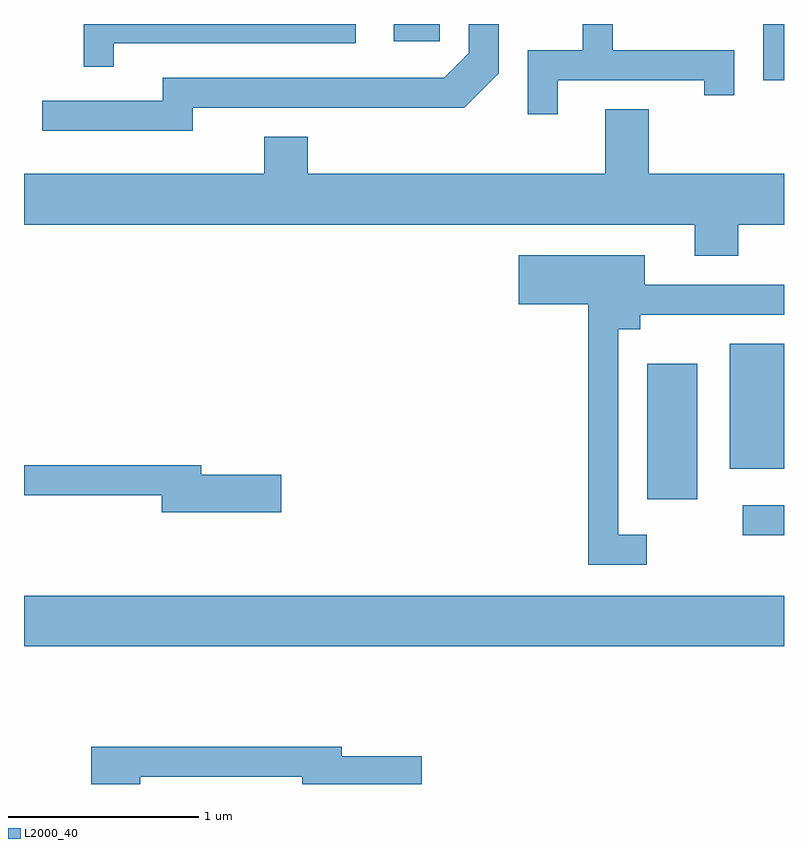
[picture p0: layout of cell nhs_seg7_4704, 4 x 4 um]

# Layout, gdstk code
import gdstk
lib = gdstk.Library(unit=1e-6, precision=1e-09)
def R(c, l, rs):  # rectangles x0, y0, x1, y1
    for r in rs: c.add(gdstk.rectangle(r[:2], r[2:], *l))
def P(c, l, *ps):  # polygons
    for p in ps: c.add(gdstk.Polygon(p, *l))
L2000_40 = (2000, 40)

nhs_seg7_4704 = lib.new_cell('nhs_seg7_4704')
R(nhs_seg7_4704, L2000_40, [(329.611,1720.976,333.611,1721.244), (333.393,1721.561,333.611,1721.719), (332.891,1721.751,333.154,1722.464), (333.326,1721.911,333.611,1722.569), (333.501,1723.956,333.611,1724.252), (331.558,1724.161,331.799,1724.252)])
P(nhs_seg7_4704, L2000_40, [(330.084,1724.151),(331.358,1724.151),(331.358,1724.252),(329.926,1724.252),(329.926,1724.028),(330.084,1724.028)],
  [(330.499,1723.811),(331.927,1723.811),(332.109,1723.994),(332.109,1724.252),(331.951,1724.252),(331.951,1724.097),(331.824,1723.969),(330.341,1723.969),(330.341,1723.849),(329.708,1723.849),(329.708,1723.691),(330.499,1723.691)],
  [(332.419,1723.956),(333.191,1723.956),(333.191,1723.878),(333.349,1723.878),(333.349,1724.114),(332.709,1724.114),(332.709,1724.252),(332.551,1724.252),(332.551,1724.114),(332.261,1724.114),(332.261,1723.778),(332.419,1723.778)],
  [(333.369,1723.196),(333.611,1723.196),(333.611,1723.464),(332.899,1723.464),(332.899,1723.804),(332.671,1723.804),(332.671,1723.464),(331.104,1723.464),(331.104,1723.659),(330.876,1723.659),(330.876,1723.464),(329.611,1723.464),(329.611,1723.196),(333.141,1723.196),(333.141,1723.031),(333.369,1723.031)],
  [(332.888,1721.564),(332.739,1721.564),(332.739,1722.646),(332.854,1722.646),(332.854,1722.721),(333.611,1722.721),(333.611,1722.879),(332.879,1722.879),(332.879,1723.034),(332.216,1723.034),(332.216,1722.776),(332.581,1722.776),(332.581,1721.406),(332.888,1721.406)],
  [(330.964,1721.879),(330.544,1721.879),(330.544,1721.929),(329.611,1721.929),(329.611,1721.771),(330.336,1721.771),(330.336,1721.681),(330.964,1721.681)],
  [(330.224,1720.291),(331.076,1720.291),(331.076,1720.252),(331.704,1720.252),(331.704,1720.399),(331.284,1720.399),(331.284,1720.449),(329.966,1720.449),(329.966,1720.252),(330.224,1720.252)])

lib.write_gds('nhs_seg7_4704.gds')
